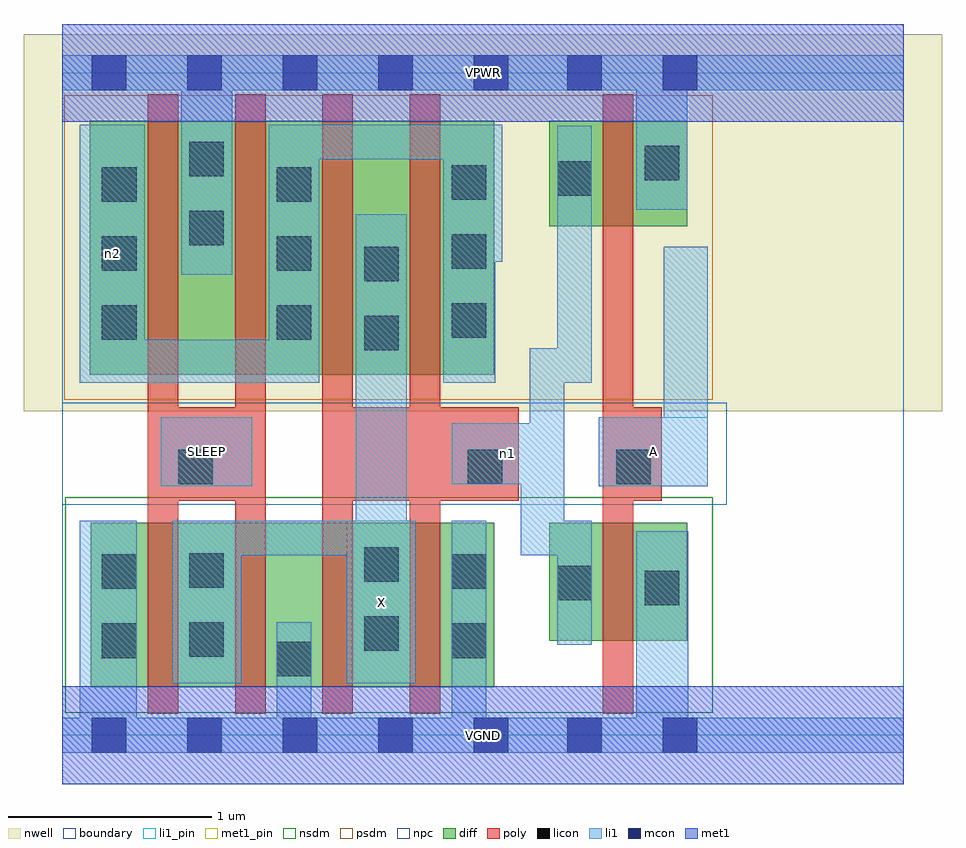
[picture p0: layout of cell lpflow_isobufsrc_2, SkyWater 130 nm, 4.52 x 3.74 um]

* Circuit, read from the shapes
.subckt lpflow_isobufsrc_2 A SLEEP VGND VPWR X n1 n2
XM1 X SLEEP VGND VSUBS sky130_fd_pr__nfet_01v8 w=0.81 l=0.15 m=2
XM2 X n1 VGND VSUBS sky130_fd_pr__nfet_01v8 w=0.81 l=0.15 m=2
XM3 VGND A n1 VSUBS sky130_fd_pr__nfet_01v8 w=0.58 l=0.15
XM4 VPWR SLEEP n2 n3 sky130_fd_pr__pfet_01v8 w=1.25 l=0.15 m=2
XM5 X n1 n2 n3 sky130_fd_pr__pfet_01v8 w=1.25 l=0.15 m=2
XM6 VPWR A n1 n3 sky130_fd_pr__pfet_01v8 w=0.52 l=0.15
.ends

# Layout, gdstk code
import gdstk
lib = gdstk.Library(unit=1e-6, precision=1e-09)
def R(c, l, rs):  # rectangles x0, y0, x1, y1
    for r in rs: c.add(gdstk.rectangle(r[:2], r[2:], *l))
def A(c, l, x, y, w, h, nx, ny, dx, dy):  # array of equal rectangles
    R(c, l, [(x+i*dx, y+j*dy, x+i*dx+w, y+j*dy+h) for i in range(nx) for j in range(ny)])
nwell = (64, 20)
diff = (65, 20)
poly = (66, 20)
licon = (66, 44)
li1_pin = (67, 16)
li1 = (67, 20)
mcon = (67, 44)
met1_pin = (68, 16)
met1 = (68, 20)
nsdm = (93, 44)
psdm = (94, 20)
npc = (95, 20)
boundary = (235, 4)

lpflow_isobufsrc_2 = lib.new_cell('lpflow_isobufsrc_2')
R(lpflow_isobufsrc_2, nwell, [(-0.19,1.595,4.33,3.45), (0,1.595,4.14,3.45)])
R(lpflow_isobufsrc_2, diff, [(0.14,0.235,2.125,1.045), (2.395,0.465,3.075,1.045), (0.135,1.775,2.125,3.025), (2.395,2.505,3.075,3.025)])
A(lpflow_isobufsrc_2, poly, 0.42, 0.105, 0.15, 3.05, 4, 1, 0.43, 0)
R(lpflow_isobufsrc_2, poly, [(2.66,0.105,2.81,3.155), (0.42,1.155,1,1.615), (1.28,1.155,2.245,1.615), (2.66,1.155,2.95,1.615)])
A(lpflow_isobufsrc_2, licon, 0.195, 1.945, 0.17, 0.17, 1, 3, 0, 0.34)
A(lpflow_isobufsrc_2, licon, 1.055, 1.945, 0.17, 0.17, 1, 3, 0, 0.34)
A(lpflow_isobufsrc_2, licon, 1.915, 1.955, 0.17, 0.17, 1, 3, 0, 0.34)
R(lpflow_isobufsrc_2, licon, [(1.055,0.29,1.225,0.46), (0.195,0.38,0.365,0.55), (1.915,0.38,2.085,0.55), (0.625,0.385,0.795,0.555), (1.485,0.415,1.655,0.585), (2.865,0.64,3.035,0.81), (2.435,0.665,2.605,0.835), (0.195,0.72,0.365,0.89), (1.915,0.72,2.085,0.89), (0.625,0.725,0.795,0.895), (1.485,0.755,1.655,0.925), (0.57,1.235,0.74,1.405), (1.995,1.235,2.165,1.405), (2.725,1.235,2.895,1.405), (1.485,1.895,1.655,2.065), (1.485,2.235,1.655,2.405), (0.625,2.41,0.795,2.58), (2.435,2.655,2.605,2.825), (2.865,2.73,3.035,2.9), (0.625,2.75,0.795,2.92)])
R(lpflow_isobufsrc_2, li1_pin, [(1.4,0.255,1.74,1.055), (0.485,1.225,0.935,1.565), (2.64,1.225,3.175,1.565)])
R(lpflow_isobufsrc_2, li1, [(0,-0.085,4.14,0.085), (0.085,-0.085,0.365,1.055), (1.055,-0.085,1.225,0.555), (1.915,-0.085,2.085,1.055), (2.825,-0.085,3.08,1.005), (0.54,0.255,0.88,1.055), (1.4,0.255,1.74,1.055), (1.445,0.255,1.695,2.565), (2.435,0.445,2.605,1.055), (0.54,0.885,1.74,1.055), (2.255,0.885,2.47,1.535), (2.3,0.885,2.47,1.905), (0.485,1.225,0.935,1.565), (2.64,1.225,3.175,1.565), (2.96,1.225,3.175,2.405), (1.915,1.235,2.47,1.535), (0.085,1.735,0.405,3.005), (0.085,1.735,1.265,1.945), (1.015,1.735,1.265,3.005), (1.875,1.735,2.13,3.005), (2.435,1.735,2.605,3), (0.585,2.265,0.835,3.345), (1.875,2.33,2.165,3.005), (2.825,2.585,3.075,3.345), (1.015,2.835,2.165,3.005), (0,3.175,4.14,3.345)])
A(lpflow_isobufsrc_2, mcon, 0.145, -0.085, 0.17, 0.17, 5, 2, 0.47, 3.26)
R(lpflow_isobufsrc_2, mcon, [(2.485,-0.085,2.655,0.085), (2.955,-0.085,3.125,0.085), (2.485,3.175,2.655,3.345), (2.955,3.175,3.125,3.345)])
R(lpflow_isobufsrc_2, met1_pin, [(0,-0.24,4.14,0.24), (0,3.02,4.14,3.5)])
R(lpflow_isobufsrc_2, met1, [(0,-0.24,4.14,0.24), (0,3.02,4.14,3.5)])
R(lpflow_isobufsrc_2, nsdm, [(0.015,0.11,3.2,1.17)])
R(lpflow_isobufsrc_2, psdm, [(0.01,1.65,3.2,3.15)])
R(lpflow_isobufsrc_2, npc, [(0,1.135,3.27,1.635)])
R(lpflow_isobufsrc_2, boundary, [(0,0,4.14,3.26)])
lpflow_isobufsrc_2.add(gdstk.Label('A', (2.907,1.395), layer=67, texttype=5))
lpflow_isobufsrc_2.add(gdstk.Label('SLEEP', (0.71,1.395), layer=67, texttype=5))
lpflow_isobufsrc_2.add(gdstk.Label('X', (1.57,0.655), layer=67, texttype=5))
lpflow_isobufsrc_2.add(gdstk.Label('n1', (2.192,1.385), layer=67, texttype=5))
lpflow_isobufsrc_2.add(gdstk.Label('n2', (0.245,2.37), layer=67, texttype=5))
lpflow_isobufsrc_2.add(gdstk.Label('VPWR', (2.07,3.26), layer=68, texttype=5))
lpflow_isobufsrc_2.add(gdstk.Label('VGND', (2.07,0), layer=68, texttype=5))
lpflow_isobufsrc_2.add(gdstk.Label('A', (2.907,1.395), layer=67, texttype=16))
lpflow_isobufsrc_2.add(gdstk.Label('SLEEP', (0.71,1.395), layer=67, texttype=16))
lpflow_isobufsrc_2.add(gdstk.Label('X', (1.57,0.655), layer=67, texttype=16))
lpflow_isobufsrc_2.add(gdstk.Label('VPWR', (2.07,3.26), layer=68, texttype=16))
lpflow_isobufsrc_2.add(gdstk.Label('VGND', (2.07,0), layer=68, texttype=16))

lib.write_gds('lpflow_isobufsrc_2.gds')
